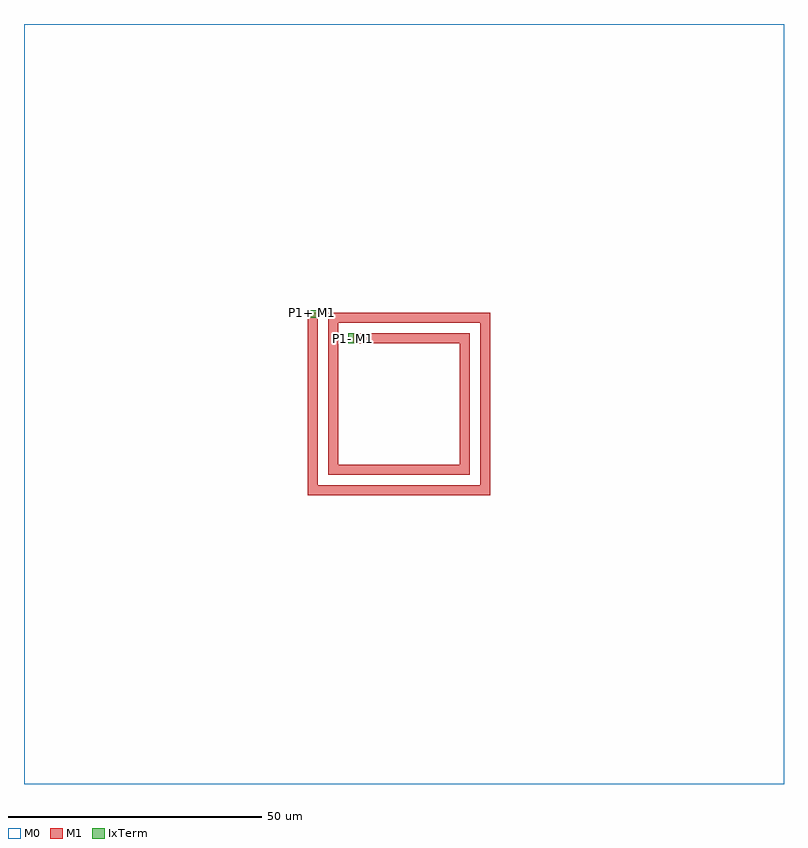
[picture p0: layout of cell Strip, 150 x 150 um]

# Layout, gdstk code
import gdstk
lib = gdstk.Library(unit=1e-6, precision=1e-09)
def R(c, l, rs):  # rectangles x0, y0, x1, y1
    for r in rs: c.add(gdstk.rectangle(r[:2], r[2:], *l))
M1 = (1, 0)
M0 = (30, 0)
IxTerm = (63, 0)

squarespiral_1 = lib.new_cell('SquareSpiral$1')
squarespiral_1.add(gdstk.FlexPath([(-10,13),(12,13),(12,-13),(-14,-13),(-14,17),(16,17),(16,-17),(-18,-17),(-18,18)], 2, ends="flush", simple_path=True, layer=1, datatype=0))  # M1

strip = lib.new_cell('Strip')
R(strip, M0, [(-75,-75,75,75)])
R(strip, IxTerm, [(-11,12,-9,14), (-19,17,-17,18.5)])
strip.add(gdstk.Reference(squarespiral_1, (0,0)))
strip.add(gdstk.Label('P1+ M1', (-18,18), layer=64, texttype=0))
strip.add(gdstk.Label('P1- M1', (-10,13), layer=64, texttype=0))

lib.write_gds('Strip.gds')
